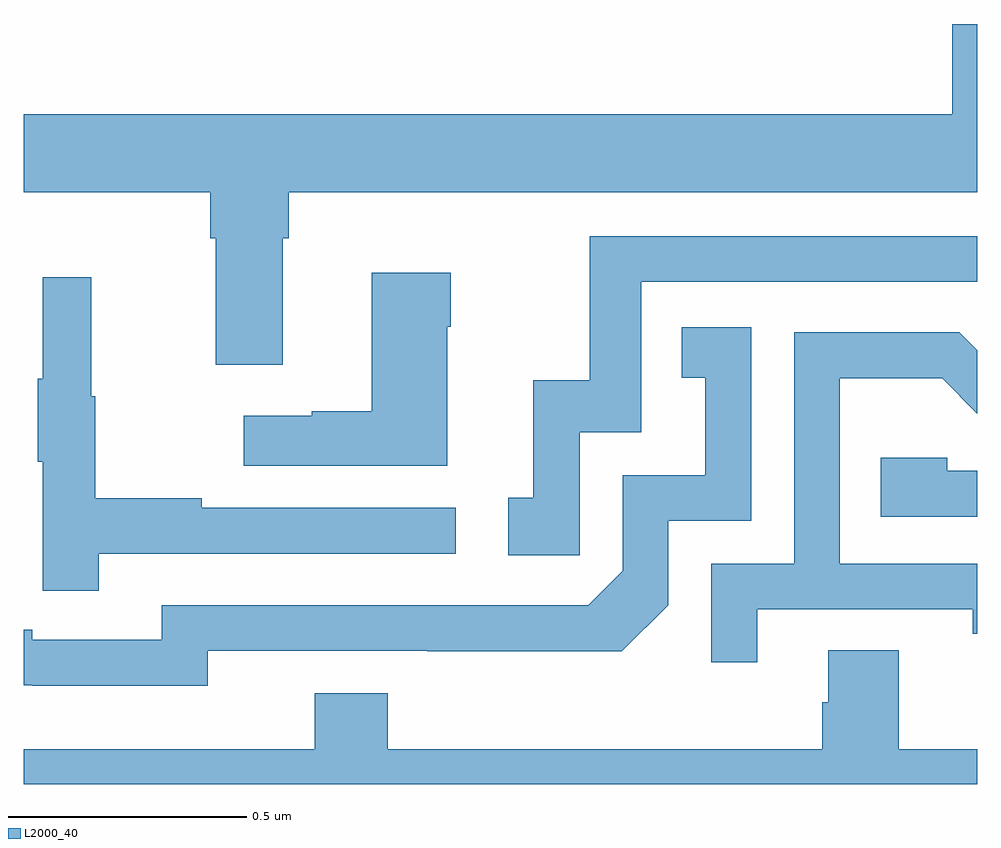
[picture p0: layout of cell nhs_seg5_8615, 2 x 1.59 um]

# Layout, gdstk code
import gdstk
lib = gdstk.Library(unit=1e-6, precision=1e-09)
def P(c, l, *ps):  # polygons
    for p in ps: c.add(gdstk.Polygon(p, *l))
L2000_40 = (2000, 40)

nhs_seg5_8615 = lib.new_cell('nhs_seg5_8615')
P(nhs_seg5_8615, L2000_40, [(223.543,909.944),(223.556,909.944),(223.556,910.04),(225,910.04),(225,910.393),(224.948,910.393),(224.948,910.204),(223,910.204),(223,910.04),(223.391,910.04),(223.391,909.944),(223.403,909.944),(223.403,909.678),(223.543,909.678)],
  [(224.166,909.537),(224.295,909.537),(224.295,909.852),(225,909.852),(225,909.948),(224.187,909.948),(224.187,909.646),(224.069,909.646),(224.069,909.399),(224.016,909.399),(224.016,909.279),(224.166,909.279)],
  [(223.888,909.758),(223.896,909.758),(223.896,909.871),(223.73,909.871),(223.73,909.581),(223.604,909.581),(223.604,909.571),(223.461,909.571),(223.461,909.467),(223.888,909.467)],
  [(223.157,909.282),(223.906,909.282),(223.906,909.378),(223.373,909.378),(223.373,909.398),(223.15,909.398),(223.15,909.612),(223.142,909.612),(223.142,909.862),(223.04,909.862),(223.04,909.649),(223.029,909.649),(223.029,909.475),(223.04,909.475),(223.04,909.204),(223.157,909.204)],
  [(223.386,909.078),(223.846,909.078),(223.846,909.077),(224.254,909.077),(224.352,909.174),(224.352,909.351),(224.526,909.351),(224.526,909.757),(224.38,909.757),(224.38,909.651),(224.429,909.651),(224.429,909.447),(224.256,909.447),(224.256,909.246),(224.184,909.174),(223.29,909.174),(223.29,909.102),(223.018,909.102),(223.018,909.122),(223,909.122),(223,909.006),(223.018,909.006),(223.018,909.005),(223.386,909.005)],
  [(224.539,909.165),(224.99,909.165),(224.99,909.114),(225,909.114),(225,909.261),(224.712,909.261),(224.712,909.65),(224.926,909.65),(225,909.576),(225,909.709),(224.962,909.747),(224.616,909.747),(224.616,909.261),(224.442,909.261),(224.442,909.054),(224.539,909.054)],
  [(225,909.456),(224.937,909.456),(224.937,909.483),(224.797,909.483),(224.797,909.36),(225,909.36)],
  [(225,908.872),(224.835,908.872),(224.835,909.08),(224.687,909.08),(224.687,908.97),(224.675,908.97),(224.675,908.872),(223.763,908.872),(223.763,908.989),(223.61,908.989),(223.61,908.872),(223,908.872),(223,908.799),(225,908.799)])

lib.write_gds('nhs_seg5_8615.gds')
